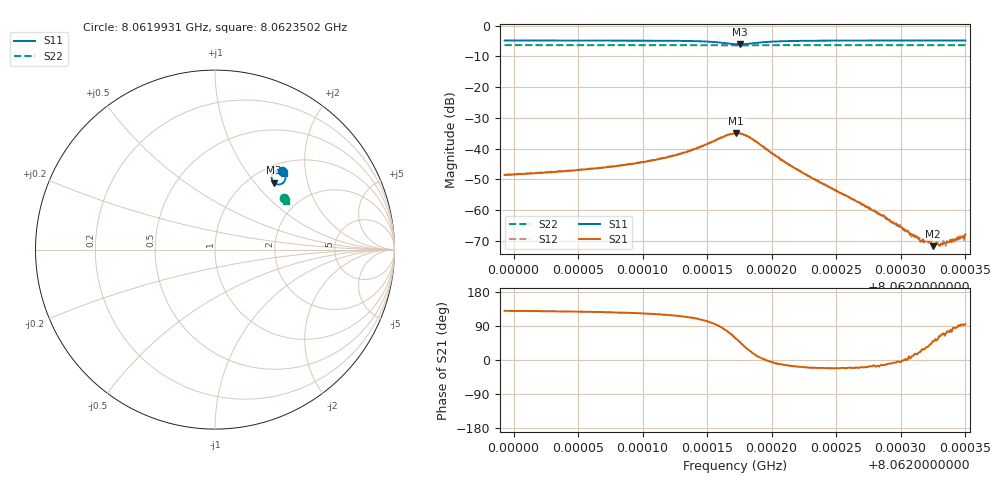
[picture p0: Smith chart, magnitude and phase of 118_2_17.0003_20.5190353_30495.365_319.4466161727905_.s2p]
#  HZ  S  RI  R  50.00
! Rohde & Schwarz Vector Network Analyzer
! Rohde-Schwarz,ZNB20-2Port,1311601062101988,3.16
! Created: UTC 3/20/2024, 10:57:19 PM
! freq[Hz]  re:S11  im:S11  re:S21  im:S21  re:S12  im:S12  re:S22  im:S22
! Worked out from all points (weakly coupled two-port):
!   401 points, 8.0619931 GHz to 8.0623502 GHz, reference 50 ohm
!   highest |S21| = -34.98 dB at 8.0621725 GHz (marker M1); lowest = -71.8 dB at 8.0623252 GHz (marker M2)
!   lowest |S11| = -6.1 dB at 8.0621752 GHz (marker M3), VSWR 2.97, Z = 63.9 + j63.2 ohm
!   |S11| at or under -10 dB: nowhere
!   |S22| runs from -6.4 to -6.3 dB; largest |S21 - S12| = 0.0013
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8.06199306e9  0.376 0.4358  -0.00237 0.00284  -0.00225 0.00301  0.3863 0.2899
8.06205288e9  0.3818 0.4298  -0.00275 0.0036  -0.00258 0.0038  0.3886 0.2869
8.06208503e9  0.3855 0.4249  -0.00306 0.00439  -0.00284 0.00464  0.3897 0.285
8.06211271e9  0.3895 0.4177  -0.00342 0.00579  -0.00308 0.00605  0.3906 0.2835
8.06213592e9  0.3929 0.405  -0.00349 0.00836  -0.00304 0.00864  0.3912 0.2819
8.06215736e9  0.3846 0.3772  -0.000625 0.0138  0.00023 0.0141  0.3911 0.2798
8.06217164e9  0.3419 0.3646  0.00922 0.0151  0.0102 0.0146  0.3896 0.2792
8.06217253e9  0.3383 0.3661  0.01 0.0148  0.0109 0.0141  0.3893 0.2793
8.06217521e9  0.3285 0.3726  0.0117 0.013  0.0128 0.0123  0.389 0.2794
8.06218325e9  0.3156 0.4024  0.0139 0.00611  0.0143 0.00518  0.3894 0.2808
8.06220825e9  0.346 0.4393  0.00633 -0.00131  0.00623 -0.00175  0.392 0.2806
8.06223147e9  0.3621 0.4394  0.00309 -0.00116  0.00301 -0.00132  0.3934 0.2792
8.06226986e9  0.3733 0.4355  0.00117 -0.000411  0.00112 -0.000459  0.3951 0.2772
8.06229129e9  0.3769 0.4336  0.000686 -0.000114  0.000647 -0.000167  0.3957 0.2761
8.06230826e9  0.3792 0.4323  0.000398 5.28e-05  0.000358 4.74e-05  0.3964 0.2752
8.0623163e9  0.38 0.4317  0.000271 0.000137  0.000318 9.9e-05  0.3966 0.275
8.06231987e9  0.3805 0.4313  0.000263 0.000177  0.000264 0.000147  0.3968 0.2747
8.06232523e9  0.3811 0.4309  0.000163 0.000198  0.000209 0.000192  0.3969 0.2744
8.06233326e9  0.382 0.4304  9.61e-05 0.00027  0.000125 0.000289  0.3973 0.274
8.0623404e9  0.3827 0.4299  3.89e-05 0.000329  4.72e-05 0.000326  0.3975 0.2735
8.06234487e9  0.383 0.4294  -1.14e-05 0.000357  1.12e-05 0.000346  0.3977 0.2733
8.06235023e9  0.3837 0.4291  -3.24e-05 0.000399  -2.62e-05 0.000359  0.398 0.2732
